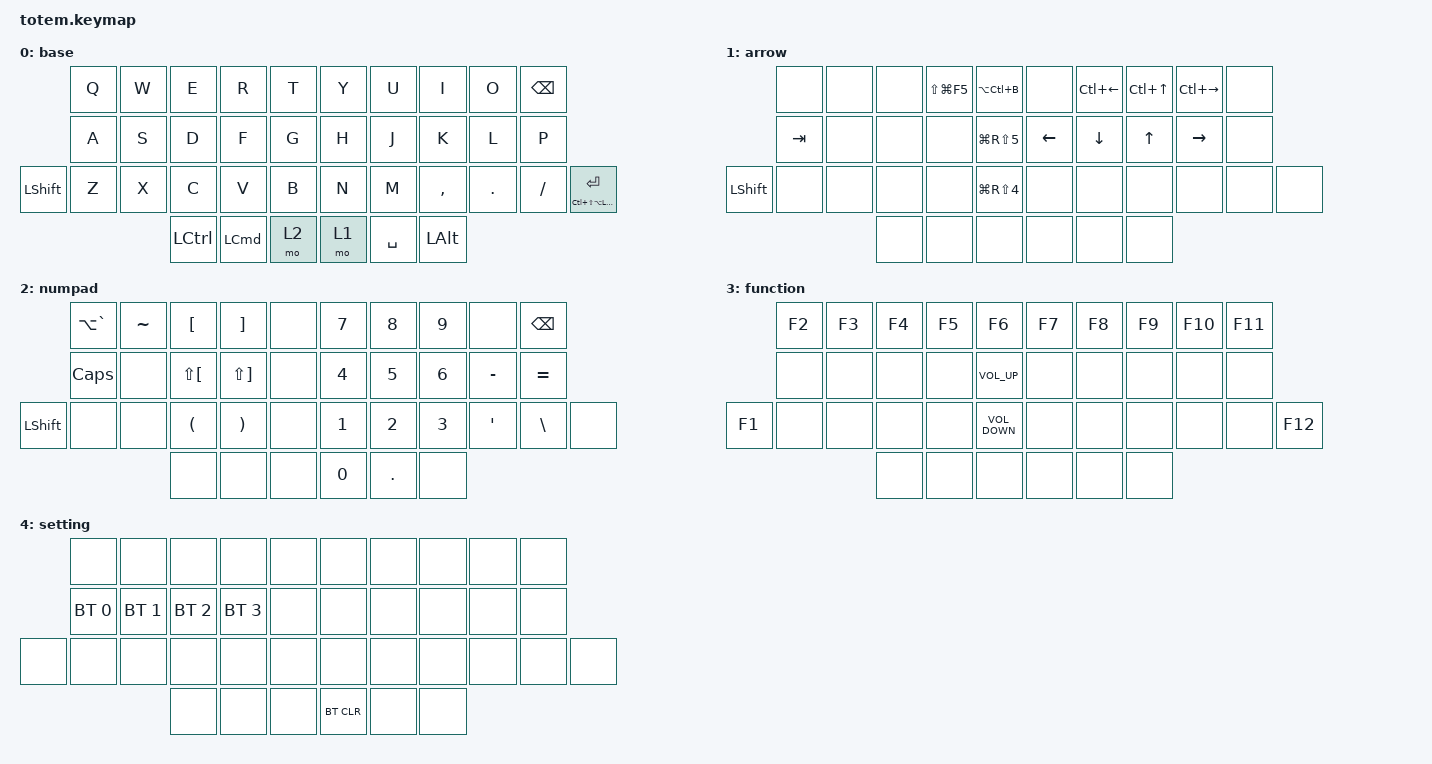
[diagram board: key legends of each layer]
//
//                                                        ▀▀▀▀▀     ▀▀▀▀▀          ▀▀█▀▀
//                                                        ▄▀▀▀▄  ▄  ▄▀▀▀▄  ▄  ▄▀▀▀▄  █  ▄▀▀▀▄
//                                                        █   █  █  █   █  █  █   █  █  █   █
//                                                         ▀▀▀   █   ▀▀▀   █   ▀▀▀   ▀   ▀▀▀
//                                                               █      ▄▄▄█▄▄▄    █   █  
//                                                               ▀      █  █  █     █▄█
//                                                             ▀▀▀▀▀    █  █  █      ▀
//                                                                      ▀  ▀  ▀
//
// ▄▄▄▄▄▄▄▄▄▄▄▄▄▄▄▄▄▄▄▄▄▄▄▄▄▄▄▄▄▄▄▄▄▄▄▄▄▄▄▄▄▄▄▄▄▄▄▄▄▄▄▄▄▄▄▄▄▄▄▄▄▄▄▄▄▄▄▄▄▄▄▄▄▄▄▄▄▄▄▄▄▄▄▄▄▄▄▄▄▄▄▄▄▄▄▄▄▄▄▄▄▄▄▄▄▄▄▄▄▄▄▄▄▄▄▄▄▄▄▄▄▄▄▄▄▄▄▄▄▄▄▄▄▄▄▄▄▄▄▄▄▄▄▄▄▄▄▄▄

#include <behaviors.dtsi>
#include <dt-bindings/zmk/bt.h>
#include <dt-bindings/zmk/keys.h>

/ {
    combos {
        compatible = "zmk,combos";

        esc {
            bindings = <&kp ESCAPE>;
            key-positions = <0 1>;
        };

        semicolon {
            bindings = <&kp SEMICOLON>;
            key-positions = <28 29>;
        };

        function {
            bindings = <&mo 3>;
            key-positions = <34 35>;
        };

        caps {
            bindings = <&kp CAPS>;
            key-positions = <10 34>;
        };
    };

    keymap {
        compatible = "zmk,keymap";

        base {
            bindings = <
            &kp Q  &kp W  &kp E      &kp R     &kp T    &kp Y  &kp U      &kp I      &kp O    &kp BACKSPACE
            &kp A  &kp S  &kp D      &kp F     &kp G    &kp H  &kp J      &kp K      &kp L    &kp P
&kp LSHIFT  &kp Z  &kp X  &kp C      &kp V     &kp B    &kp N  &kp M      &kp COMMA  &kp DOT  &kp FSLH       &mt LC(LS(LA(LGUI))) ENTER
                          &kp LCTRL  &kp LCMD  &mo 2    &mo 1  &kp SPACE  &kp LALT
            >;
        };

        arrow {
            bindings = <
                &none    &none  &none  &kp LS(LG(F5))  &kp LA(LC(B))           &none     &kp LC(LEFT)  &kp LC(UP_ARROW)  &kp LC(RIGHT)  &none
                &kp TAB  &none  &none  &none           &kp LG(RS(N5))          &kp LEFT  &kp DOWN      &kp UP_ARROW      &kp RIGHT      &none
&kp LEFT_SHIFT  &none    &none  &none  &none           &kp LG(RS(NUMBER_4))    &none     &none         &none             &none          &none  &none
                                &none  &none           &none                   &none     &none         &none
            >;
        };

        numpad {
            bindings = <
                &kp LA(GRAVE)  &kp TILDE  &kp LBKT              &kp RBKT               &none    &kp N7  &kp N8   &kp N9  &none      &kp BACKSPACE
                &kp CAPS       &none      &kp LS(LEFT_BRACKET)  &kp LS(RIGHT_BRACKET)  &none    &kp N4  &kp N5   &kp N6  &kp MINUS  &kp EQUAL
&kp LEFT_SHIFT  &none          &none      &kp LEFT_PARENTHESIS  &kp RPAR               &none    &kp N1  &kp N2   &kp N3  &kp SQT    &kp BACKSLASH  &none
                                          &none                 &none                  &none    &kp N0  &kp DOT  &none
            >;
        };

        function {
            bindings = <
        &kp F2  &kp F3  &kp F4  &kp F5  &kp F6               &kp F7  &kp F8  &kp F9  &kp F10  &kp F11
        &none   &none   &none   &none   &kp C_VOLUME_UP      &none   &none   &none   &none    &none
&kp F1  &none   &none   &none   &none   &kp C_VOLUME_DOWN    &none   &none   &none   &none    &none    &kp F12
                        &none   &none   &none                &none   &none   &none
            >;
        };

        setting {
            bindings = <
       &none         &none         &none         &none         &none    &none       &none  &none  &none  &none
       &bt BT_SEL 0  &bt BT_SEL 1  &bt BT_SEL 2  &bt BT_SEL 3  &none    &none       &none  &none  &none  &none
&none  &none         &none         &none         &none         &none    &none       &none  &none  &none  &none  &none
                                   &none         &none         &none    &bt BT_CLR  &none  &none
            >;
        };
    };

    conditional_layers { compatible = "zmk,conditional-layers"; };
};
